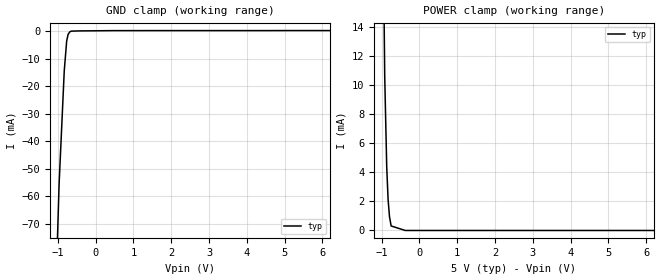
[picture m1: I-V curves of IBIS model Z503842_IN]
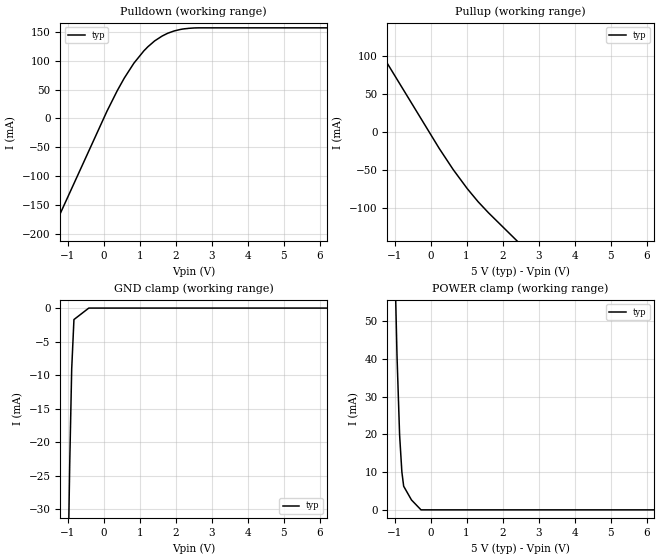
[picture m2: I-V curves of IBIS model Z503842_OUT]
| YOU ARE ONLY AUTHORIZED TO USE THIS SOFTWARE
| ACCORDING TO LICENSOR'S LICENSE RESTRICTIONS.
[IBIS Ver] 3.1
[File Name] mc74act194n.ibs
[File Rev] 2.0
[Source] Measured and created by ICX Technology
[Date] Friday 7/14/00 9:08:01 AM
[Copyright]
| (C) COPYRIGHT 1993-2000
| MENTOR GRAPHICS CORPORATION
| ICX STANDARD LIBRARY, ICX PROJECT MODELING,
| ICX CUSTOM MODELING, ICX VENDOR MODEL
| ALL RIGHTS RESERVED.
| THE FOLLOWING ARE TRADEMARKS OR SERVICE MARKS OF
| MENTOR GRAPHICS CORPORATION:ICX (R), ICX STANDARD
| LIBRARY(R), ICX PROJECT MODELING(R), ICX CUSTOM
| MODELING(R), qualityIBIS(TM), MODELVIEWER(TM),
| AND MODELEDITOR(TM)
| ALL COPIES OF SOFTWARE, INCLUDING BUT NOT LIMITED TO
| ANY MODIFICATIONS, ENHANCEMENTS OR DERIVATIVE WORKS,
| MUST CONTAIN ALL MENTOR GRAPHICS CORPORATION'S
| NOTICES AND LEGENDS, INCLUDING THOSE EMBEDDED IN
| SOFTWARE AND THOSE AFFIXED TO SOFTWARE MEDIUM
| AND CONTAINER, AS RECEIVED FROM MENTOR GRAPHICS
| CORPORATION.
|  ZAP Model Builder 2.7
[Component] MC74ACT194N
[Manufacturer] OnSemiconductor
[Package]
| variable   typ   min   max
R_pkg  .212ohms NA NA
L_pkg  4.758nH NA NA
C_pkg  1.143pF NA NA
[Pin] signal_name  model_name  R_pin  L_pin C_pin
1 _CLR Z503842_IN .224 7.258n 1.578p
2 SR_SER Z503842_IN .216 5.258n 1.288p
3 A Z503842_IN .208 3.758n .998p
4 B Z503842_IN .2 2.758n .708p
5 C Z503842_IN .2 2.758n .708p
6 D Z503842_IN .208 3.758n .998p
7 SL_SER Z503842_IN .216 5.258n 1.288p
8 GND GND .224 7.258n 1.578p
9 S0 Z503842_IN .224 7.258n 1.578p
10 S1 Z503842_IN .216 5.258n 1.288p
11 CLK Z503842_IN .208 3.758n .998p
12 QD Z503842_OUT .2 2.758n .708p
13 QC Z503842_OUT .2 2.758n .708p
14 QB Z503842_OUT .208 3.758n .998p
15 QA Z503842_OUT .216 5.258n 1.288p
16 VCC POWER .224 7.258n 1.578p
| Models and submodels in the file (2): Z503842_IN (Input), Z503842_OUT (Output)
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| (C) COPYRIGHT 1993-2000
| MENTOR GRAPHICS CORPORATION
| ICX STANDARD LIBRARY, ICX PROJECT MODELING,
| ICX CUSTOM MODELING, ICX VENDOR MODEL
| ALL RIGHTS RESERVED.
| THE FOLLOWING ARE TRADEMARKS OR SERVICE MARKS OF
| MENTOR GRAPHICS CORPORATION:ICX (R), ICX STANDARD
| LIBRARY(R), ICX PROJECT MODELING(R), ICX CUSTOM
| MODELING(R), qualityIBIS(TM), MODELVIEWER(TM),
| AND MODELEDITOR(TM)
| ALL COPIES OF SOFTWARE, INCLUDING BUT NOT LIMITED TO
| ANY MODIFICATIONS, ENHANCEMENTS OR DERIVATIVE WORKS,
| MUST CONTAIN ALL MENTOR GRAPHICS CORPORATION'S
| NOTICES AND LEGENDS, INCLUDING THOSE EMBEDDED IN
| SOFTWARE AND THOSE AFFIXED TO SOFTWARE MEDIUM
| AND CONTAINER, AS RECEIVED FROM MENTOR GRAPHICS
| CORPORATION.
| Model Application Version 1.89 2/18/99.
[Model] Z503842_IN
Model_type Input
Vinl = 800.0mV
Vinh = 2.000V
C_comp 4.000pF NA NA
| variable typ   min   max
[Voltage Range] 5.000V NA NA
[GND Clamp Reference] 0.000V NA NA
[POWER Clamp Reference] 5.000V NA NA
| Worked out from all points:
|   GND clamp passes 1 mA (typ) near -0.72 V on its own axis
|   POWER clamp passes 1 mA (typ) near -0.79 V on its own axis
[GND Clamp]
-5V       -1.881A    NA         NA
-966.8mV  -55.65mA   NA         NA
-830.5mV  -14.49mA   NA         NA
-766.3mV  -3.644mA   NA         NA
-727.9mV  -1.197mA   NA         NA
-684.2mV  -325.1uA   NA         NA
-645mV    -42.91uA   NA         NA
10V       164.1uA    NA         NA
[POWER Clamp]
-5V       2.295A     NA         NA
-1.177V   104.7mA    NA         NA
-1.014V   34.54mA    NA         NA
-917mV    10.56mA    NA         NA
-864mV    4.357mA    NA         NA
-828mV    2.131mA    NA         NA
-791mV    947.9uA    NA         NA
-747mV    309.8uA    NA         NA
-373.5mV  0A         NA         NA
10V       0A         NA         NA
| (C) COPYRIGHT 1993-2000
| MENTOR GRAPHICS CORPORATION
| ICX STANDARD LIBRARY, ICX PROJECT MODELING,
| ICX CUSTOM MODELING, ICX VENDOR MODEL
| ALL RIGHTS RESERVED.
| THE FOLLOWING ARE TRADEMARKS OR SERVICE MARKS OF
| MENTOR GRAPHICS CORPORATION:ICX (R), ICX STANDARD
| LIBRARY(R), ICX PROJECT MODELING(R), ICX CUSTOM
| MODELING(R), qualityIBIS(TM), MODELVIEWER(TM),
| AND MODELEDITOR(TM)
| ALL COPIES OF SOFTWARE, INCLUDING BUT NOT LIMITED TO
| ANY MODIFICATIONS, ENHANCEMENTS OR DERIVATIVE WORKS,
| MUST CONTAIN ALL MENTOR GRAPHICS CORPORATION'S
| NOTICES AND LEGENDS, INCLUDING THOSE EMBEDDED IN
| SOFTWARE AND THOSE AFFIXED TO SOFTWARE MEDIUM
| AND CONTAINER, AS RECEIVED FROM MENTOR GRAPHICS
| CORPORATION.
| Model Application Version 1.89 2/18/99.
[Model] Z503842_OUT
Model_type Output
Vref=0.000V
Rref=500.0ohms
Cref=50.00pF
Vmeas=1.500V
C_comp 8.000pF NA NA
| variable typ   min   max
[Voltage Range] 5.000V NA NA
[POWER Clamp Reference] 5.000V NA NA
[Pullup Reference] 5.000V NA NA
[Pulldown Reference] 0.000V NA NA
[GND Clamp Reference] 0.000V NA NA
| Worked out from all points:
|   slope of the pulldown table from 0 to 0.75 V, typ, clamps not added: 8.61 ohm
|   slope of the pullup table from 0 to 0.75 V, typ, clamps not added: 13.8 ohm
[GND Clamp]
-5V       -1.362A    NA         NA
-942mV    -23.16mA   NA         NA
-887.6mV  -9.087mA   NA         NA
-825.2mV  -1.711mA   NA         NA
-412.6mV  0A         NA         NA
10V       0A         NA         NA
[Pulldown]
-5V       -683mA     NA         NA
92.96mV   12.74mA    NA         NA
376.2mV   47.99mA    NA         NA
571.4mV   69.82mA    NA         NA
839.8mV   95.79mA    NA         NA
1.119V    117.3mA    NA         NA
1.23V     124.3mA    NA         NA
1.417V    134.4mA    NA         NA
1.782V    147.7mA    NA         NA
2.193V    154.9mA    NA         NA
2.631V    157mA      NA         NA
10V       157mA      NA         NA
[Pullup]
-5V       385.1mA    NA         NA
240mV     -21.4mA    NA         NA
630mV     -49.36mA   NA         NA
1.021V    -74.44mA   NA         NA
1.323V    -91.68mA   NA         NA
1.607V    -106mA     NA         NA
10V       -497.5mA   NA         NA
[POWER Clamp]
-5V       2.169A     NA         NA
-1.05V    89.74mA    NA         NA
-932mV    41.09mA    NA         NA
-859mV    19.82mA    NA         NA
-796mV    10.03mA    NA         NA
-746mV    6.249mA    NA         NA
-529mV    2.621mA    NA         NA
-264.5mV  0A         NA         NA
10V       0A         NA         NA
[Ramp]
| variable typ min max
dV/dt_r 2.946/743.6p NA NA
dV/dt_f 2.946/710.1p NA NA
R_load = 500.0Ohms
